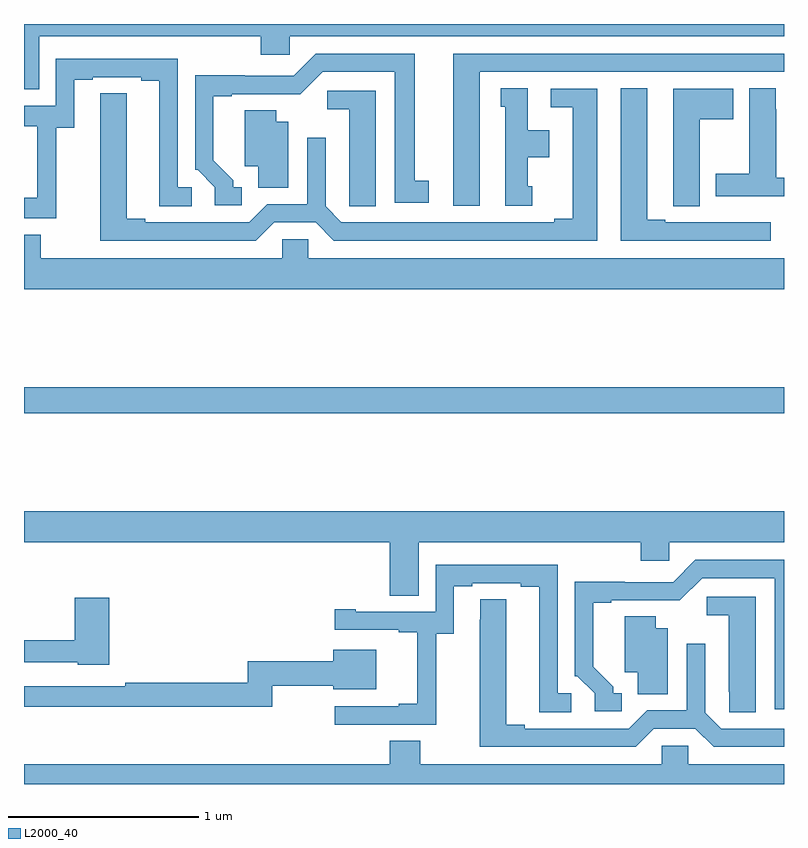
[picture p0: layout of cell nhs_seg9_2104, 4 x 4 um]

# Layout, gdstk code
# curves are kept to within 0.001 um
import gdstk
lib = gdstk.Library(unit=1e-6, precision=1e-09)
def R(c, l, rs):  # rectangles x0, y0, x1, y1
    for r in rs: c.add(gdstk.rectangle(r[:2], r[2:], *l))
def P(c, l, *ps):  # polygons
    for p in ps: c.add(gdstk.Polygon(p, *l))
L2000_40 = (2000, 40)

nhs_seg9_2104 = lib.new_cell('nhs_seg9_2104')
R(nhs_seg9_2104, L2000_40, [(231,1178.452,235,1178.588)])
P(nhs_seg9_2104, L2000_40, [(231.079,1180.436),(232.247,1180.436),(232.247,1180.338),(232.398,1180.338),(232.398,1180.436),(235,1180.436),(235,1180.5),(231,1180.5),(231,1180.156),(231.079,1180.156)],
  [(232.147,1179.642),(232.102,1179.642),(232.102,1179.677),(231.997,1179.782),(231.997,1180.119),(232.093,1180.119),(232.093,1180.131),(232.454,1180.13),(232.572,1180.248),(232.952,1180.248),(232.952,1179.558),(233.131,1179.558),(233.131,1179.674),(233.056,1179.674),(233.056,1180.344),(232.536,1180.344),(232.419,1180.227),(232.163,1180.227),(232.163,1180.229),(231.9,1180.229),(231.9,1179.732),(231.915,1179.732),(232.005,1179.642),(232.005,1179.546),(232.147,1179.546)],
  [(233.398,1180.248),(235,1180.248),(235,1180.344),(233.258,1180.344),(233.258,1179.543),(233.398,1179.543)],
  [(231.171,1179.955),(231.265,1179.955),(231.265,1180.206),(231.361,1180.206),(231.361,1180.221),(231.617,1180.221),(231.617,1180.201),(231.713,1180.201),(231.713,1179.541),(231.883,1179.541),(231.883,1179.642),(231.81,1179.642),(231.81,1180.317),(231.168,1180.317),(231.168,1180.071),(231,1180.071),(231,1179.963),(231.071,1179.963),(231.071,1179.586),(231,1179.586),(231,1179.477),(231.171,1179.477)],
  [(235,1179.69),(234.958,1179.69),(234.958,1180.052),(234.957,1180.052),(234.957,1180.163),(234.818,1180.163),(234.818,1179.711),(234.641,1179.711),(234.641,1179.594),(235,1179.594)],
  [(234.931,1179.456),(234.818,1179.456),(234.818,1179.457),(234.652,1179.457),(234.652,1179.456),(234.376,1179.456),(234.376,1179.471),(234.28,1179.471),(234.28,1180.163),(234.14,1180.163),(234.14,1179.36),(234.931,1179.36)],
  [(233.674,1179.645),(233.65,1179.645),(233.65,1179.8),(233.764,1179.8),(233.764,1179.94),(233.65,1179.94),(233.65,1180.163),(233.51,1180.163),(233.51,1180.065),(233.534,1180.065),(233.534,1179.543),(233.674,1179.543)],
  [(234.556,1180),(234.733,1180),(234.733,1180.159),(234.416,1180.159),(234.416,1179.649),(234.417,1179.649),(234.417,1179.541),(234.556,1179.541)],
  [(232.317,1179.456),(232.535,1179.456),(232.631,1179.36),(234.016,1179.36),(234.016,1180.158),(233.772,1180.158),(233.772,1180.062),(233.888,1180.062),(233.888,1179.476),(233.792,1179.476),(233.792,1179.456),(232.671,1179.456),(232.587,1179.54),(232.587,1179.901),(232.491,1179.901),(232.491,1179.552),(232.281,1179.552),(232.185,1179.456),(231.637,1179.456),(231.637,1179.476),(231.541,1179.476),(231.541,1180.136),(231.402,1180.136),(231.401,1179.36),(232.221,1179.36)],
  [(232.852,1180.149),(232.596,1180.149),(232.596,1180.052),(232.712,1180.052),(232.712,1179.649),(232.713,1179.649),(232.713,1179.541),(232.852,1179.541)],
  [(232.39,1179.985),(232.327,1179.985),(232.327,1180.046),(232.163,1180.046),(232.163,1179.752),(232.232,1179.752),(232.232,1179.637),(232.39,1179.637)],
  [(235,1179.268),(232.497,1179.268),(232.497,1179.366),(232.359,1179.366),(232.359,1179.268),(231.087,1179.268),(231.087,1179.392),(231,1179.392),(231,1179.104),(235,1179.104)],
  [(233.077,1177.772),(234.245,1177.772),(234.245,1177.674),(234.396,1177.674),(234.396,1177.772),(235,1177.772),(235,1177.936),(231,1177.936),(231,1177.772),(232.925,1177.772),(232.925,1177.492),(233.077,1177.492)],
  [(234.145,1176.978),(234.1,1176.978),(234.1,1177.013),(233.995,1177.118),(233.995,1177.455),(234.091,1177.455),(234.091,1177.467),(234.452,1177.466),(234.57,1177.584),(234.95,1177.584),(234.95,1176.894),(235,1176.894),(235,1177.68),(234.534,1177.68),(234.417,1177.563),(234.161,1177.563),(234.161,1177.565),(233.898,1177.565),(233.898,1177.068),(233.913,1177.068),(234.003,1176.978),(234.003,1176.882),(234.145,1176.882)],
  [(233.169,1177.291),(233.263,1177.291),(233.263,1177.542),(233.359,1177.542),(233.359,1177.557),(233.615,1177.557),(233.615,1177.537),(233.711,1177.537),(233.711,1176.877),(233.881,1176.877),(233.881,1176.978),(233.808,1176.978),(233.808,1177.653),(233.166,1177.653),(233.166,1177.407),(232.747,1177.407),(232.747,1177.42),(232.635,1177.42),(232.635,1177.311),(232.973,1177.311),(232.973,1177.299),(233.069,1177.299),(233.069,1176.922),(232.973,1176.922),(232.973,1176.909),(232.635,1176.909),(232.635,1176.813),(233.169,1176.813)],
  [(234.85,1177.485),(234.594,1177.485),(234.594,1177.388),(234.71,1177.388),(234.71,1176.985),(234.711,1176.985),(234.711,1176.877),(234.85,1176.877)],
  [(231.449,1177.48),(231.266,1177.48),(231.266,1177.256),(231,1177.256),(231,1177.14),(231.282,1177.14),(231.282,1177.127),(231.449,1177.127)],
  [(234.315,1176.792),(234.533,1176.792),(234.629,1176.696),(235,1176.696),(235,1176.792),(234.669,1176.792),(234.585,1176.876),(234.585,1177.237),(234.489,1177.237),(234.489,1176.888),(234.279,1176.888),(234.183,1176.792),(233.635,1176.792),(233.635,1176.812),(233.539,1176.812),(233.539,1177.472),(233.4,1177.472),(233.399,1176.696),(234.219,1176.696)],
  [(234.388,1177.321),(234.325,1177.321),(234.325,1177.382),(234.161,1177.382),(234.161,1177.088),(234.23,1177.088),(234.23,1176.973),(234.388,1176.973)],
  [(232.306,1177.017),(232.628,1177.017),(232.628,1176.998),(232.855,1176.998),(232.855,1177.207),(232.628,1177.207),(232.628,1177.145),(232.177,1177.145),(232.177,1177.034),(231.532,1177.034),(231.532,1177.014),(231,1177.014),(231,1176.906),(232.306,1176.906)],
  [(235,1176.604),(234.495,1176.604),(234.495,1176.702),(234.357,1176.702),(234.357,1176.604),(233.085,1176.604),(233.085,1176.728),(232.925,1176.728),(232.925,1176.604),(231,1176.604),(231,1176.5),(235,1176.5)])

lib.write_gds('nhs_seg9_2104.gds')
